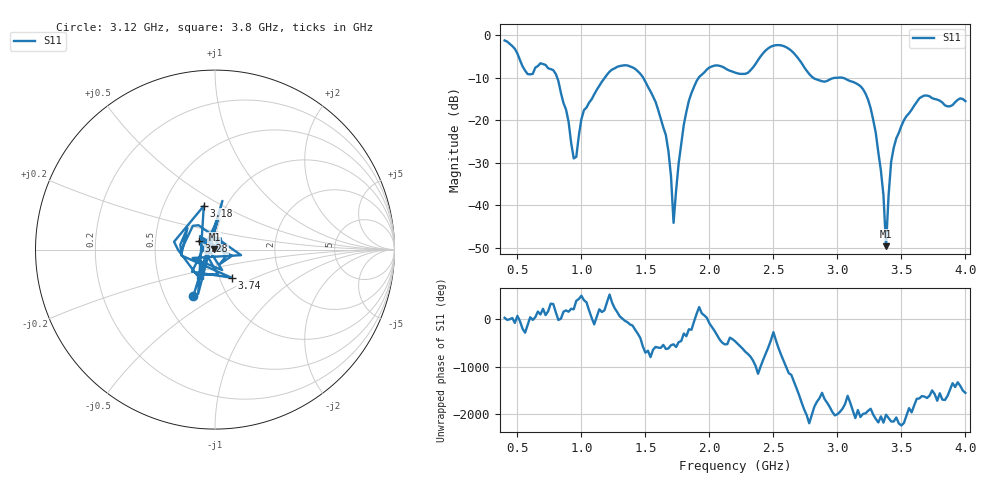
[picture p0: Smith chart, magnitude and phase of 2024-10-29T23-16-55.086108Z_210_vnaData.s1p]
!Created with skrf (http://scikit-rf.org).
# Hz S RI R 50.0
!freq ReS11 ImS11
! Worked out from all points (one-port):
!   181 points, 400 MHz to 4 GHz, reference 50 ohm
!   lowest |S11| = -49.6 dB at 3.38 GHz (marker M1), VSWR 1.01, Z = 49.7 + j0.154 ohm
!   |S11| at or under -10 dB: 810.7 MHz to 1.183 GHz (372.1 MHz wide, 37.3 % of centre); 1.483 GHz to 1.916 GHz (433.4 MHz wide, 25.5 % of centre); 3.04 GHz to end of sweep (the widest 3 of 4)
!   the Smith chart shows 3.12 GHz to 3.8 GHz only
!   S11 on the Smith chart (normalised r, x): 3.12 GHz: 0.70, -0.39; 3.18 GHz: 0.79, +0.41; 3.28 GHz: 0.83, +0.08; 3.74 GHz: 1.14, -0.37; 3.8 GHz: 0.81, -0.25
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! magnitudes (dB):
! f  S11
! 400 MHz  -1.2
! 580 MHz  -9.1
! 780 MHz  -8.2
! 860 MHz  -15.9
! 960 MHz  -28.6
! 1.02 GHz  -17.6
! 1.3 GHz  -7.3
! 1.58 GHz  -15.7
! 1.68 GHz  -27.3
! 1.72 GHz  -44.1
! 1.76 GHz  -30.1
! 1.82 GHz  -18.0
! 1.9 GHz  -10.8
! 2.2 GHz  -8.8
! 2.5 GHz  -2.5
! 2.66 GHz  -4.2
! 2.82 GHz  -10.2
! 3.1 GHz  -10.8
! 3.12 GHz  -11.0
! 3.18 GHz  -12.0
! 3.28 GHz  -19.9
! 3.36 GHz  -37.6
! 3.38 GHz  -49.6
! 3.42 GHz  -29.7
! 3.56 GHz  -18.4
! 3.74 GHz  -14.8
! 3.8 GHz  -15.4
! 4 GHz  -15.5
